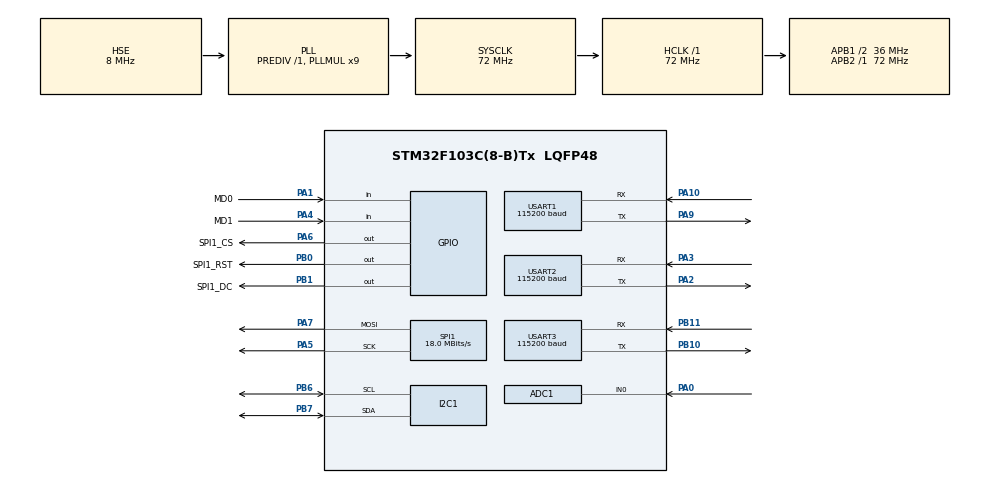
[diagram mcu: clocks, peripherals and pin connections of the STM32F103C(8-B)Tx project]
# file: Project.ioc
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ADC1.Channel-0\#ChannelRegularConversion=ADC_CHANNEL_0
ADC1.ContinuousConvMode=ENABLE
ADC1.NbrOfConversionFlag=1
ADC1.Rank-0\#ChannelRegularConversion=1
ADC1.SamplingTime-0\#ChannelRegularConversion=ADC_SAMPLETIME_239CYCLES_5
ADC1.master=1
Dma.ADC1.2.Direction=DMA_PERIPH_TO_MEMORY
Dma.ADC1.2.Instance=DMA1_Channel1
Dma.ADC1.2.MemDataAlignment=DMA_MDATAALIGN_WORD
Dma.ADC1.2.MemInc=DMA_MINC_ENABLE
Dma.ADC1.2.Mode=DMA_CIRCULAR
Dma.ADC1.2.PeriphDataAlignment=DMA_PDATAALIGN_WORD
Dma.ADC1.2.PeriphInc=DMA_PINC_DISABLE
Dma.ADC1.2.Priority=DMA_PRIORITY_LOW
Dma.I2C1_RX.0.Direction=DMA_PERIPH_TO_MEMORY
Dma.I2C1_RX.0.Instance=DMA1_Channel7
Dma.I2C1_RX.0.MemDataAlignment=DMA_MDATAALIGN_BYTE
Dma.I2C1_RX.0.MemInc=DMA_MINC_ENABLE
Dma.I2C1_RX.0.Mode=DMA_NORMAL
Dma.I2C1_RX.0.PeriphDataAlignment=DMA_PDATAALIGN_BYTE
Dma.I2C1_RX.0.PeriphInc=DMA_PINC_DISABLE
Dma.I2C1_RX.0.Priority=DMA_PRIORITY_LOW
Dma.I2C1_TX.1.Direction=DMA_MEMORY_TO_PERIPH
Dma.I2C1_TX.1.Instance=DMA1_Channel6
Dma.I2C1_TX.1.MemDataAlignment=DMA_MDATAALIGN_BYTE
Dma.I2C1_TX.1.MemInc=DMA_MINC_ENABLE
Dma.I2C1_TX.1.Mode=DMA_NORMAL
Dma.I2C1_TX.1.PeriphDataAlignment=DMA_PDATAALIGN_BYTE
Dma.I2C1_TX.1.PeriphInc=DMA_PINC_DISABLE
Dma.I2C1_TX.1.Priority=DMA_PRIORITY_LOW
Dma.Request0=I2C1_RX
Dma.Request1=I2C1_TX
Dma.Request2=ADC1
I2C1.I2C_Mode=I2C_Standard
I2C1.OwnAddress=0x0A
Mcu.Family=STM32F1
Mcu.Name=STM32F103C(8-B)Tx
Mcu.Package=LQFP48
NVIC.DMA1_Channel1_IRQn=true\:0\:0\:false\:false\:true\:false\:true\:true
NVIC.DMA1_Channel6_IRQn=true\:0\:0\:false\:false\:true\:false\:true\:true
NVIC.DMA1_Channel7_IRQn=true\:0\:0\:false\:false\:true\:false\:true\:true
NVIC.I2C1_ER_IRQn=true\:0\:0\:false\:false\:true\:true\:true\:true
NVIC.I2C1_EV_IRQn=true\:0\:0\:false\:false\:true\:true\:true\:true
NVIC.PriorityGroup=NVIC_PRIORITYGROUP_4
NVIC.USART1_IRQn=true\:0\:0\:false\:false\:true\:true\:true\:true
NVIC.USART2_IRQn=true\:0\:0\:false\:false\:true\:true\:true\:true
NVIC.USART3_IRQn=true\:0\:0\:false\:false\:true\:true\:true\:true
PA0-WKUP.Signal=ADCx_IN0
PA1.GPIO_Label=MD0
PA1.Signal=GPIO_Input
PA10.Mode=Asynchronous
PA10.Signal=USART1_RX
PA13.Mode=Serial_Wire
PA13.Signal=SYS_JTMS-SWDIO
PA14.Mode=Serial_Wire
PA14.Signal=SYS_JTCK-SWCLK
PA2.Mode=Asynchronous
PA2.Signal=USART2_TX
PA3.Mode=Asynchronous
PA3.Signal=USART2_RX
PA4.GPIO_Label=MD1
PA4.Signal=GPIO_Input
PA5.Mode=TX_Only_Simplex_Unidirect_Master
PA5.Signal=SPI1_SCK
PA6.GPIO_Label=SPI1_CS
PA6.Signal=GPIO_Output
PA7.Mode=TX_Only_Simplex_Unidirect_Master
PA7.Signal=SPI1_MOSI
PA9.Mode=Asynchronous
PA9.Signal=USART1_TX
PB0.GPIO_Label=SPI1_RST
PB0.Signal=GPIO_Output
PB1.GPIO_Label=SPI1_DC
PB1.Signal=GPIO_Output
PB10.Mode=Asynchronous
PB10.Signal=USART3_TX
PB11.Mode=Asynchronous
PB11.Signal=USART3_RX
PB6.Mode=I2C
PB6.Signal=I2C1_SCL
PB7.Mode=I2C
PB7.Signal=I2C1_SDA
PD0-OSC_IN.Mode=HSE-External-Oscillator
PD0-OSC_IN.Signal=RCC_OSC_IN
PD1-OSC_OUT.Mode=HSE-External-Oscillator
PD1-OSC_OUT.Signal=RCC_OSC_OUT
ProjectManager.HeapSize=0x200
ProjectManager.StackSize=0x400
ProjectManager.TargetToolchain=MDK-ARM V5.32
RCC.ADCPresc=RCC_ADCPCLK2_DIV6
RCC.AHBFreq_Value=72000000
RCC.APB1CLKDivider=RCC_HCLK_DIV2
RCC.APB1Freq_Value=36000000
RCC.APB1TimFreq_Value=72000000
RCC.APB2Freq_Value=72000000
RCC.APB2TimFreq_Value=72000000
RCC.HCLKFreq_Value=72000000
RCC.PLLMUL=RCC_PLL_MUL9
RCC.PLLSourceVirtual=RCC_PLLSOURCE_HSE
RCC.SYSCLKFreq_VALUE=72000000
RCC.SYSCLKSource=RCC_SYSCLKSOURCE_PLLCLK
RCC.USBFreq_Value=72000000
SH.ADCx_IN0.0=ADC1_IN0,IN0
SPI1.BaudRatePrescaler=SPI_BAUDRATEPRESCALER_4
SPI1.CalculateBaudRate=18.0 MBits/s
SPI1.Direction=SPI_DIRECTION_2LINES
SPI1.Mode=SPI_MODE_MASTER
SPI1.VirtualType=VM_MASTER
USART1.BaudRate=115200
USART1.VirtualMode=VM_ASYNC
USART2.BaudRate=115200
USART2.VirtualMode=VM_ASYNC
USART3.BaudRate=115200
USART3.VirtualMode=VM_ASYNC
board=custom

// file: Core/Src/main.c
/* USER CODE BEGIN Header */
/**
  ******************************************************************************
  * @file           : main.c
  * @brief          : Main program body
  ******************************************************************************
  * @attention
  *
  * Copyright (c) 2026 STMicroelectronics.
  * All rights reserved.
  *
  * This software is licensed under terms that can be found in the LICENSE file
  * in the root directory of this software component.
  * If no LICENSE file comes with this software, it is provided AS-IS.
  *
  ******************************************************************************
  */
/* USER CODE END Header */
#include "main.h"
#include "adc.h"
#include "dma.h"
#include "i2c.h"
#include "spi.h"
#include "usart.h"
#include "gpio.h"

/* USER CODE BEGIN Includes */
#include "stdio.h"
#include "dth12.h"
#include "string.h"
#include "esp8266.h"
/* USER CODE END Includes */

/* USER CODE BEGIN PTD */
uint16_t gas_concentration;
uint8_t esp8266_connected = 0;
/* USER CODE END PTD */

/* USER CODE BEGIN PD */
#define AVG_SAMPLES 3
/* USER CODE END PD */

/* USER CODE BEGIN PV */
/* USER CODE BEGIN PV */
/* USER CODE END PV */

void SystemClock_Config(void);

/* USER CODE BEGIN 0 */

uint16_t MQ2_ReadGasConcentration(void)
{
  HAL_ADC_Start(&hadc1);
  HAL_ADC_PollForConversion(&hadc1, 100);
  uint16_t adc_val = HAL_ADC_GetValue(&hadc1);
  uint16_t concentration = (adc_val * 1000) / 4095;

  return concentration;
}

/* USER CODE END 0 */

int main(void)
{

  /* MCU Configuration--------------------------------------------------------*/

  /* Reset of all peripherals, Initializes the Flash interface and the Systick. */
  HAL_Init();

  /* Configure the system clock */
  SystemClock_Config();

  /* Initialize all configured peripherals */
  MX_GPIO_Init();
  MX_DMA_Init();
  MX_ADC1_Init();
  MX_I2C1_Init();
  MX_USART1_UART_Init();
  MX_USART2_UART_Init();
  MX_USART3_UART_Init();
  MX_SPI1_Init();
  /* USER CODE BEGIN 2 */
  int16_t temperature = 0;
  uint16_t humidity = 0;
  int16_t temp_sum = 0;
  uint16_t hum_sum = 0;
  char uart_buf[128];
  char send_buf[64];
  uint8_t ret;

  HAL_GPIO_WritePin(MD0_GPIO_Port, MD0_Pin, GPIO_PIN_SET);
  HAL_GPIO_WritePin(MD1_GPIO_Port, MD1_Pin, GPIO_PIN_RESET);

  HAL_Delay(100);

  DTH12_Init();

  ret = DTH12_ReadCalibrationParams();
  if (ret == 0)
  {
    printf("DTH12 OK\r\n");
  }
  else
  {
    printf("DTH12 Err\r\n");
  }

  printf("ESP8266: Start init...\r\n");
  esp8266_connected = ESP8266_Init();

  HAL_Delay(1000);
  /* USER CODE END 2 */

  /* Infinite loop */
  while (1)
  {

    /* USER CODE BEGIN 3 */
    temp_sum = 0;
    hum_sum = 0;

    ret = DTH12_TriggerMeasurement();
    if (ret == 0)
    {
      DTH12_Data_t dht_data;
      ret = DTH12_ReadData(&dht_data);
      if (ret == 0 && dht_data.error == 0)
      {
        temperature = dht_data.temperature;
        humidity = dht_data.humidity;
        temp_sum += temperature;
        hum_sum += humidity;
      }
    }

    if (humidity > 1000) humidity = 1000;
    else if (humidity < 0) humidity = 0;

    gas_concentration = MQ2_ReadGasConcentration();

    snprintf(send_buf, sizeof(send_buf), "T%.1fH%.1fS%d\r\n", temperature / 10.0f, humidity / 10.0f, gas_concentration);
    HAL_UART_Transmit(&huart2, (uint8_t*)send_buf, strlen(send_buf), 500);

    if(esp8266_connected)
    {
        ESP8266_PublishData(temperature / 10.0f, humidity / 10.0f, gas_concentration);
    }

    HAL_Delay(1000);
  }
  /* USER CODE END 3 */
}

void SystemClock_Config(void)
{
  RCC_OscInitTypeDef RCC_OscInitStruct = {0};
  RCC_ClkInitTypeDef RCC_ClkInitStruct = {0};
  RCC_PeriphCLKInitTypeDef PeriphClkInit = {0};

  /** Initializes the RCC Oscillators according to the specified parameters
  * in the RCC_OscInitTypeDef structure.
  */
  RCC_OscInitStruct.OscillatorType = RCC_OSCILLATORTYPE_HSE;
  RCC_OscInitStruct.HSEState = RCC_HSE_ON;
  RCC_OscInitStruct.HSEPredivValue = RCC_HSE_PREDIV_DIV1;
  RCC_OscInitStruct.HSIState = RCC_HSI_ON;
  RCC_OscInitStruct.PLL.PLLState = RCC_PLL_ON;
  RCC_OscInitStruct.PLL.PLLSource = RCC_PLLSOURCE_HSE;
  RCC_OscInitStruct.PLL.PLLMUL = RCC_PLL_MUL9;
  if (HAL_RCC_OscConfig(&RCC_OscInitStruct) != HAL_OK)
  {
    Error_Handler();
  }

  /** Initializes the CPU, AHB and APB buses clocks
  */
  RCC_ClkInitStruct.ClockType = RCC_CLOCKTYPE_HCLK|RCC_CLOCKTYPE_SYSCLK
                              |RCC_CLOCKTYPE_PCLK1|RCC_CLOCKTYPE_PCLK2;
  RCC_ClkInitStruct.SYSCLKSource = RCC_SYSCLKSOURCE_PLLCLK;
  RCC_ClkInitStruct.AHBCLKDivider = RCC_SYSCLK_DIV1;
  RCC_ClkInitStruct.APB1CLKDivider = RCC_HCLK_DIV2;
  RCC_ClkInitStruct.APB2CLKDivider = RCC_HCLK_DIV1;

  if (HAL_RCC_ClockConfig(&RCC_ClkInitStruct, FLASH_LATENCY_2) != HAL_OK)
  {
    Error_Handler();
  }
  PeriphClkInit.PeriphClockSelection = RCC_PERIPHCLK_ADC;
  PeriphClkInit.AdcClockSelection = RCC_ADCPCLK2_DIV6;
  if (HAL_RCCEx_PeriphCLKConfig(&PeriphClkInit) != HAL_OK)
  {
    Error_Handler();
  }
}

/* USER CODE BEGIN 4 */
void HAL_I2C_MasterRxCpltCallback(I2C_HandleTypeDef *hi2c)
{
    if (hi2c->Instance == I2C1)
    {
        dht12_read_complete = 1;
    }
}
/* USER CODE END 4 */

void Error_Handler(void)
{
  __disable_irq();
  while (1)
  {
  }
}
